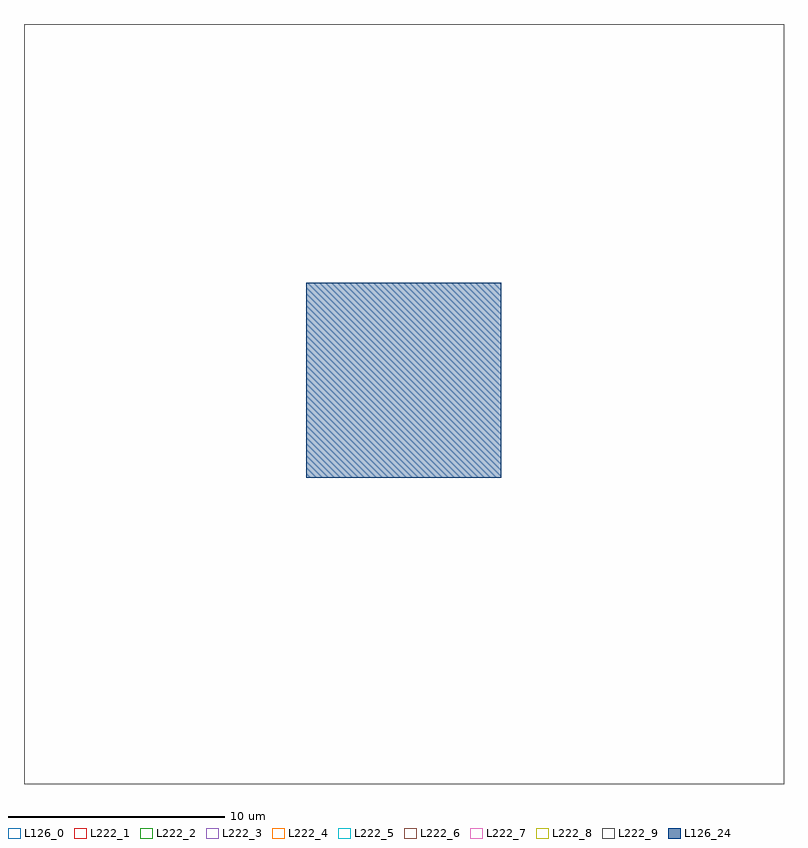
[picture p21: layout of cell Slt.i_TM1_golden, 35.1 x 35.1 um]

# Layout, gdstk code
import gdstk
lib = gdstk.Library(unit=1e-6, precision=1e-09)
def R(c, l, rs):  # rectangles x0, y0, x1, y1
    for r in rs: c.add(gdstk.rectangle(r[:2], r[2:], *l))
L126_0 = (126, 0)
L126_24 = (126, 24)
L222_1 = (222, 1)
L222_2 = (222, 2)
L222_3 = (222, 3)
L222_4 = (222, 4)
L222_5 = (222, 5)
L222_6 = (222, 6)
L222_7 = (222, 7)
L222_8 = (222, 8)
L222_9 = (222, 9)

slt_i_tm1_golden = lib.new_cell('Slt.i_TM1_golden')
R(slt_i_tm1_golden, L126_0, [(0,0,35.1,35.1)])
R(slt_i_tm1_golden, L126_24, [(13.04,14.145,22.04,23.145)])
R(slt_i_tm1_golden, L222_1, [(0,0,35.1,35.1)])
R(slt_i_tm1_golden, L222_2, [(0,0,35.1,35.1)])
R(slt_i_tm1_golden, L222_3, [(0,0,35.1,35.1)])
R(slt_i_tm1_golden, L222_4, [(0,0,35.1,35.1)])
R(slt_i_tm1_golden, L222_5, [(0,0,35.1,35.1)])
R(slt_i_tm1_golden, L222_6, [(0,0,35.1,35.1)])
R(slt_i_tm1_golden, L222_7, [(0,0,35.1,35.1)])
R(slt_i_tm1_golden, L222_8, [(0,0,35.1,35.1)])
R(slt_i_tm1_golden, L222_9, [(0,0,35.1,35.1)])

lib.write_gds('Slt.i_TM1_golden.gds')
